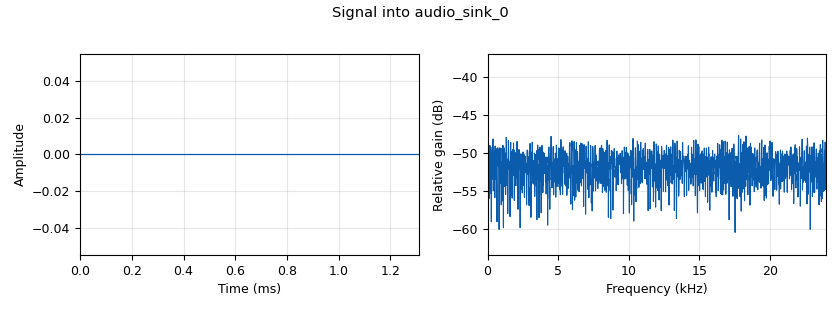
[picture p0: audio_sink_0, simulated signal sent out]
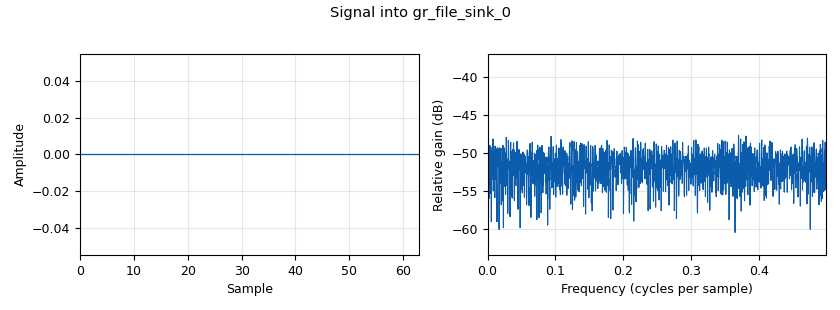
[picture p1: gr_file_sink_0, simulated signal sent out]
<?xml version='1.0' encoding='utf-8'?>
<flow_graph>
<block>
<key>options</key>
<param><key>id</key><value>tcpclient</value></param>
<param><key>generate_options</key><value>wx_gui</value></param>
<param><key>category</key><value>Custom</value></param>
</block>
<block>
<key>variable</key>
<param><key>id</key><value>samp_rate</value></param>
<param><key>value</key><value>48000</value></param>
</block>
<block>
<key>audio_sink</key>
<param><key>id</key><value>audio_sink_0</value></param>
<param><key>samp_rate</key><value>samp_rate</value></param>
</block>
<block>
<key>gr_noise_source_x</key>
<param><key>id</key><value>gr_noise_source_x_0</value></param>
<param><key>type</key><value>float</value></param>
<param><key>noise_type</key><value>gr.GR_IMPULSE</value></param>
<param><key>amp</key><value>1</value></param>
<param><key>seed</key><value>0</value></param>
</block>
<block>
<key>gr_file_sink</key>
<param><key>id</key><value>gr_file_sink_0</value></param>
<param><key>file</key><value>/home/frank/noise.raw</value></param>
<param><key>type</key><value>float</value></param>
<param><key>vlen</key><value>1</value></param>
<param><key>unbuffered</key><value>False</value></param>
</block>
<connection><source_block_id>gr_noise_source_x_0</source_block_id><sink_block_id>audio_sink_0</sink_block_id><source_key>0</source_key><sink_key>0</sink_key></connection>
<connection><source_block_id>gr_noise_source_x_0</source_block_id><sink_block_id>gr_file_sink_0</sink_block_id><source_key>0</source_key><sink_key>0</sink_key></connection>
</flow_graph>
